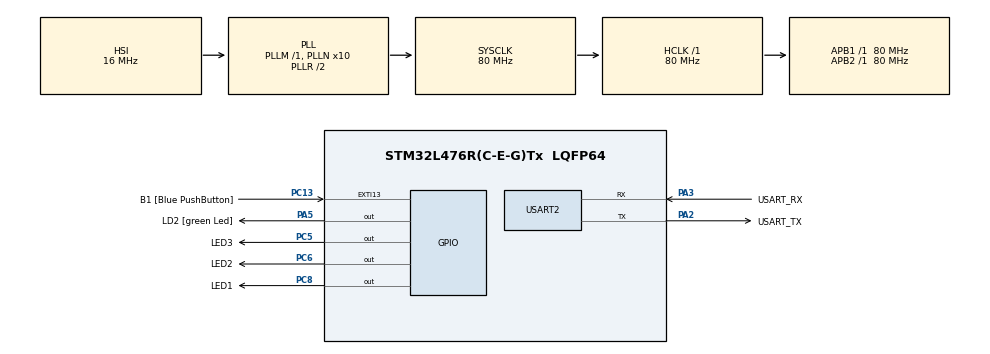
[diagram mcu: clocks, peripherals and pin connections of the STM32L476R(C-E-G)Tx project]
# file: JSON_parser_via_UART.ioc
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Dma.Request0=USART2_RX
Dma.USART2_RX.0.Direction=DMA_PERIPH_TO_MEMORY
Dma.USART2_RX.0.Instance=DMA1_Channel6
Dma.USART2_RX.0.MemDataAlignment=DMA_MDATAALIGN_BYTE
Dma.USART2_RX.0.MemInc=DMA_MINC_ENABLE
Dma.USART2_RX.0.Mode=DMA_NORMAL
Dma.USART2_RX.0.PeriphDataAlignment=DMA_PDATAALIGN_BYTE
Dma.USART2_RX.0.PeriphInc=DMA_PINC_DISABLE
Dma.USART2_RX.0.Priority=DMA_PRIORITY_LOW
Mcu.Family=STM32L4
Mcu.Name=STM32L476R(C-E-G)Tx
Mcu.Package=LQFP64
NVIC.DMA1_Channel6_IRQn=true\:0\:0\:false\:false\:true\:false\:true\:true
NVIC.EXTI15_10_IRQn=true\:1\:0\:true\:false\:true\:true\:true\:true
NVIC.PriorityGroup=NVIC_PRIORITYGROUP_4
NVIC.USART2_IRQn=true\:0\:0\:false\:false\:true\:true\:true\:true
PA13\ (JTMS-SWDIO).GPIO_Label=TMS
PA13\ (JTMS-SWDIO).Mode=Serial_Wire
PA13\ (JTMS-SWDIO).Signal=SYS_JTMS-SWDIO
PA14\ (JTCK-SWCLK).GPIO_Label=TCK
PA14\ (JTCK-SWCLK).Mode=Serial_Wire
PA14\ (JTCK-SWCLK).Signal=SYS_JTCK-SWCLK
PA2.GPIO_Label=USART_TX
PA2.GPIO_Mode=GPIO_MODE_AF_PP
PA2.GPIO_PuPd=GPIO_NOPULL
PA2.GPIO_Speed=GPIO_SPEED_FREQ_VERY_HIGH
PA2.Mode=Asynchronous
PA2.Signal=USART2_TX
PA3.GPIO_Label=USART_RX
PA3.GPIO_Mode=GPIO_MODE_AF_PP
PA3.GPIO_PuPd=GPIO_NOPULL
PA3.GPIO_Speed=GPIO_SPEED_FREQ_VERY_HIGH
PA3.Mode=Asynchronous
PA3.Signal=USART2_RX
PA5.GPIO_Label=LD2 [green Led]
PA5.GPIO_ModeDefaultOutputPP=GPIO_MODE_OUTPUT_PP
PA5.GPIO_PuPd=GPIO_NOPULL
PA5.GPIO_Speed=GPIO_SPEED_FREQ_LOW
PA5.Signal=GPIO_Output
PB3\ (JTDO-TRACESWO).GPIO_Label=SWO
PB3\ (JTDO-TRACESWO).Signal=SYS_JTDO-SWO
PC13.GPIO_Label=B1 [Blue PushButton]
PC13.GPIO_ModeDefaultEXTI=GPIO_MODE_IT_FALLING
PC13.GPIO_PuPd=GPIO_NOPULL
PC13.Signal=GPXTI13
PC14-OSC32_IN\ (PC14).Mode=LSE-External-Oscillator
PC14-OSC32_IN\ (PC14).Signal=RCC_OSC32_IN
PC15-OSC32_OUT\ (PC15).Mode=LSE-External-Oscillator
PC15-OSC32_OUT\ (PC15).Signal=RCC_OSC32_OUT
PC5.GPIO_Label=LED3
PC5.Signal=GPIO_Output
PC6.GPIO_Label=LED2
PC6.Signal=GPIO_Output
PC8.GPIO_Label=LED1
PC8.Signal=GPIO_Output
PH0-OSC_IN\ (PH0).Signal=RCC_OSC_IN
PH1-OSC_OUT\ (PH1).Signal=RCC_OSC_OUT
ProjectManager.HeapSize=0x200
ProjectManager.StackSize=0x400
ProjectManager.TargetToolchain=STM32CubeIDE
RCC.ADCFreq_Value=64000000
RCC.AHBFreq_Value=80000000
RCC.APB1Freq_Value=80000000
RCC.APB1TimFreq_Value=80000000
RCC.APB2Freq_Value=80000000
RCC.APB2TimFreq_Value=80000000
RCC.CortexFreq_Value=80000000
RCC.HCLKFreq_Value=80000000
RCC.HSE_VALUE=8000000
RCC.HSI_VALUE=16000000
RCC.MSI_VALUE=4000000
RCC.PLLN=10
RCC.PLLSourceVirtual=RCC_PLLSOURCE_HSI
RCC.PREFETCH_ENABLE=1
RCC.SYSCLKFreq_VALUE=80000000
RCC.SYSCLKSource=RCC_SYSCLKSOURCE_PLLCLK
RCC.USBFreq_Value=64000000
RCC.VCOOutputFreq_Value=160000000
USART2.VirtualMode-Asynchronous=VM_ASYNC
board=NUCLEO-L476RG

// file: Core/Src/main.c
/* USER CODE BEGIN Header */
/**
  ******************************************************************************
  * @file           : main.c
  * @brief          : Main program body
  ******************************************************************************
  * @attention
  *
  * Copyright (c) 2023 STMicroelectronics.
  * All rights reserved.
  *
  * This software is licensed under terms that can be found in the LICENSE file
  * in the root directory of this software component.
  * If no LICENSE file comes with this software, it is provided AS-IS.
  *
  ******************************************************************************
  */
/* USER CODE END Header */
#include "main.h"
#include "dma.h"
#include "usart.h"
#include "gpio.h"

/* USER CODE BEGIN Includes */
#include <stdbool.h>
#include <string.h>

#include "lwjson/lwjson.h"
/* USER CODE END Includes */

/* USER CODE BEGIN PV */
uint8_t rx_buffer[256];
bool data_received = false;
/* USER CODE END PV */

void SystemClock_Config(void);

int main(void)
{

  /* MCU Configuration--------------------------------------------------------*/

  /* Reset of all peripherals, Initializes the Flash interface and the Systick. */
  HAL_Init();

  /* Configure the system clock */
  SystemClock_Config();

  /* Initialize all configured peripherals */
  MX_GPIO_Init();
  MX_DMA_Init();
  MX_USART2_UART_Init();
  /* USER CODE BEGIN 2 */
  char *str;
  size_t len = 0;

  static lwjson_token_t tokens[128];
  static lwjson_t lwjson;

  lwjson_init(&lwjson, tokens, LWJSON_ARRAYSIZE(tokens));

  HAL_UARTEx_ReceiveToIdle_DMA(&huart2, rx_buffer, 256);
  /* USER CODE END 2 */

  /* Infinite loop */
  /* USER CODE BEGIN WHILE */
  while (1)
  {
	  if (data_received == true)
	  {
		  data_received = false;

		  /* {"LED1":"ON","LED2":"ON","LED3":"ON"} */
		  /* {"LED1":"OFF","LED2":"OFF","LED3":"OFF"} */

		  if (lwjson_parse(&lwjson, (char*)rx_buffer) == lwjsonOK)
		  {
			  const lwjson_token_t* t;

			  if ((t = lwjson_find(&lwjson, "LED1")) != NULL)
			  {
				  str = (char *)lwjson_get_val_string(t, &len);

				  if (strncmp(str, "ON", len) == 0)
				  {
					  HAL_GPIO_WritePin(LED1_GPIO_Port, LED1_Pin, GPIO_PIN_SET);
				  }
				  else if (strncmp(str, "OFF", len) == 0)
				  {
					  HAL_GPIO_WritePin(LED1_GPIO_Port, LED1_Pin, GPIO_PIN_RESET);
				  }
			  }

			  if ((t = lwjson_find(&lwjson, "LED2")) != NULL)
			  {
				  str = (char *)lwjson_get_val_string(t, &len);

				  if (strncmp(str, "ON", len) == 0)
				  {
					  HAL_GPIO_WritePin(LED2_GPIO_Port, LED2_Pin, GPIO_PIN_SET);
				  }
				  else if (strncmp(str, "OFF", len) == 0)
				  {
					  HAL_GPIO_WritePin(LED2_GPIO_Port, LED2_Pin, GPIO_PIN_RESET);
				  }
			  }

			  if ((t = lwjson_find(&lwjson, "LED3")) != NULL)
			  {
				  str = (char *)lwjson_get_val_string(t, &len);

				  if (strncmp(str, "ON", len) == 0)
				  {
					  HAL_GPIO_WritePin(LED3_GPIO_Port, LED3_Pin, GPIO_PIN_SET);
				  }
				  else if (strncmp(str, "OFF", len) == 0)
				  {
					  HAL_GPIO_WritePin(LED3_GPIO_Port, LED3_Pin, GPIO_PIN_RESET);
				  }
			  }

			  lwjson_free(&lwjson);
		  }
	  }

    /* USER CODE END WHILE */

  }
}

void SystemClock_Config(void)
{
  RCC_OscInitTypeDef RCC_OscInitStruct = {0};
  RCC_ClkInitTypeDef RCC_ClkInitStruct = {0};

  /** Configure the main internal regulator output voltage
  */
  if (HAL_PWREx_ControlVoltageScaling(PWR_REGULATOR_VOLTAGE_SCALE1) != HAL_OK)
  {
    Error_Handler();
  }

  /** Initializes the RCC Oscillators according to the specified parameters
  * in the RCC_OscInitTypeDef structure.
  */
  RCC_OscInitStruct.OscillatorType = RCC_OSCILLATORTYPE_HSI;
  RCC_OscInitStruct.HSIState = RCC_HSI_ON;
  RCC_OscInitStruct.HSICalibrationValue = RCC_HSICALIBRATION_DEFAULT;
  RCC_OscInitStruct.PLL.PLLState = RCC_PLL_ON;
  RCC_OscInitStruct.PLL.PLLSource = RCC_PLLSOURCE_HSI;
  RCC_OscInitStruct.PLL.PLLM = 1;
  RCC_OscInitStruct.PLL.PLLN = 10;
  RCC_OscInitStruct.PLL.PLLP = RCC_PLLP_DIV7;
  RCC_OscInitStruct.PLL.PLLQ = RCC_PLLQ_DIV2;
  RCC_OscInitStruct.PLL.PLLR = RCC_PLLR_DIV2;
  if (HAL_RCC_OscConfig(&RCC_OscInitStruct) != HAL_OK)
  {
    Error_Handler();
  }

  /** Initializes the CPU, AHB and APB buses clocks
  */
  RCC_ClkInitStruct.ClockType = RCC_CLOCKTYPE_HCLK|RCC_CLOCKTYPE_SYSCLK
                              |RCC_CLOCKTYPE_PCLK1|RCC_CLOCKTYPE_PCLK2;
  RCC_ClkInitStruct.SYSCLKSource = RCC_SYSCLKSOURCE_PLLCLK;
  RCC_ClkInitStruct.AHBCLKDivider = RCC_SYSCLK_DIV1;
  RCC_ClkInitStruct.APB1CLKDivider = RCC_HCLK_DIV1;
  RCC_ClkInitStruct.APB2CLKDivider = RCC_HCLK_DIV1;

  if (HAL_RCC_ClockConfig(&RCC_ClkInitStruct, FLASH_LATENCY_4) != HAL_OK)
  {
    Error_Handler();
  }
}

/* USER CODE BEGIN 4 */
void HAL_UARTEx_RxEventCallback(UART_HandleTypeDef *huart, uint16_t Size)
{
	if (huart->Instance == USART2)
	{
		rx_buffer[Size] = '\0';
		data_received = true;
		HAL_UARTEx_ReceiveToIdle_DMA(&huart2, rx_buffer, 256);
	}
}
/* USER CODE END 4 */

void Error_Handler(void)
{
  __disable_irq();
  while (1)
  {
  }
}
